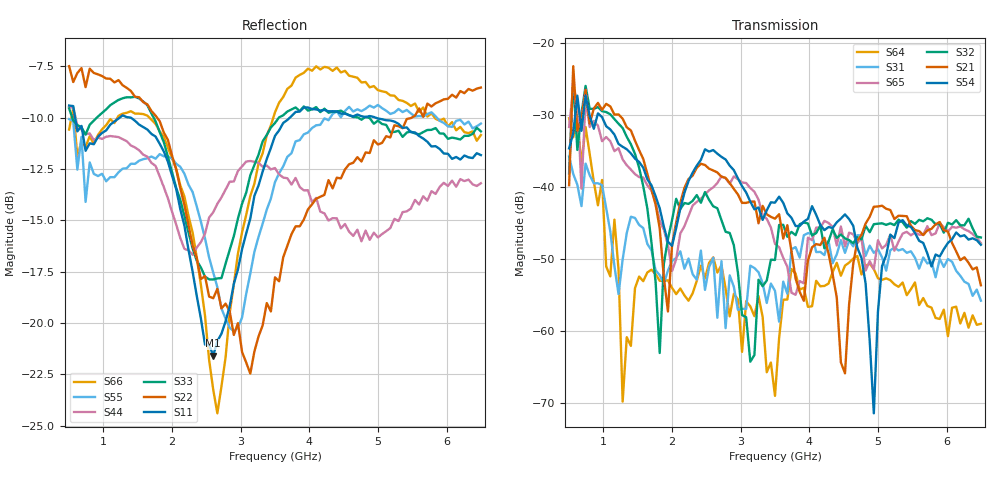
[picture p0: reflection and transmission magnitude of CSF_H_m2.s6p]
!Keysight Technologies,M9804A,MY58100912,A.14.10.03
!Date: Thursday, April 27, 2023 10:28:33
!Correction: S11(C  6-Port  )
!S12(C  6-Port  )
!S13(C  6-Port  )
!S14(C  6-Port  )
!S15(C  6-Port  )
!S16(C  6-Port  )
!S21(C  6-Port  )
!S22(C  6-Port  )
!S23(C  6-Port  )
!S24(C  6-Port  )
!S25(C  6-Port  )
!S26(C  6-Port  )
!S31(C  6-Port  )
!S32(C  6-Port  )
!S33(C  6-Port  )
!S34(C  6-Port  )
!S35(C  6-Port  )
!S36(C  6-Port  )
!S41(C  6-Port  )
!S42(C  6-Port  )
!S43(C  6-Port  )
!S44(C  6-Port  )
!S45(C  6-Port  )
!S46(C  6-Port  )
!S51(C  6-Port  )
!S52(C  6-Port  )
!S53(C  6-Port  )
!S54(C  6-Port  )
!S55(C  6-Port  )
!S56(C  6-Port  )
!S61(C  6-Port  )
!S62(C  6-Port  )
!S63(C  6-Port  )
!S64(C  6-Port  )
!S65(C  6-Port  )
!S66(C  6-Port  )
!S6P File: Measurement: :
# Hz S  RI  R 50
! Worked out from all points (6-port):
!   101 points, 500 MHz to 6.5 GHz, reference 50 ohm
!   strongest paths, dB at 500 MHz, 2 GHz, 3.5 GHz, 5 GHz, 6.5 GHz:
!     S54: -34.6, -48.1, -42.1, -57.3, -48.0
!     S21: -39.7, -48.0, -44.4, -42.7, -53.6
!     S32: -38.1, -44.5, -50.1, -45.1, -47.0
!     S65: -31.6, -51.6, -47.9, -47.4, -47.8
!     S31: -35.7, -50.2, -54.4, -48.6, -55.7
!     S64: -30.4, -54.0, -69.0, -52.6, -58.9
!   lowest |S11| = -21.6 dB at 2.6 GHz (marker M1), VSWR 1.18, Z = 42.6 + j2.07 ohm
!   |S11| at or under -10 dB: 587.7 MHz to 1.233 GHz (645.7 MHz wide, 70.9 % of centre); 1.402 GHz to 3.714 GHz (2.312 GHz wide, 90.4 % of centre); 4.972 GHz to end of sweep
